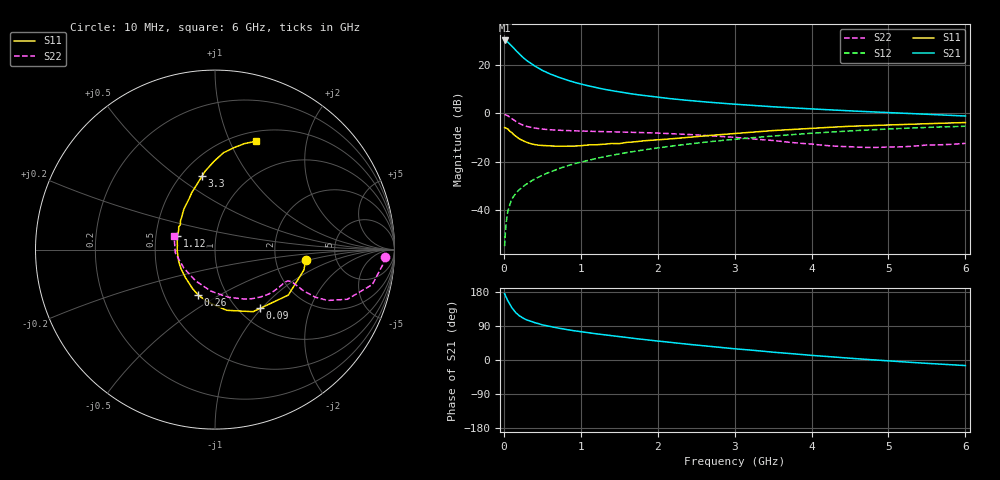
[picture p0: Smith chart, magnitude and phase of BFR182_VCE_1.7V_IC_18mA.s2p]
! Infineon Technologies  Discrete & RF Semiconductors
! BFR182
! VCE =  1.7 V,  IC =  18 mA
! Common Emitter S-Parameters:  Nov 2015
# GHz  S  MA  R  50
!  f  S11  S21  S12  S22
! GHz  MAG  ANG  MAG  ANG  MAG  ANG  MAG  ANG
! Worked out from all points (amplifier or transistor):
!   210 points, 10 MHz to 6 GHz, reference 50 ohm
!   highest |S21| = 30.1 dB at 10 MHz (marker M1)
!   |S21| within 3 dB of that: start of sweep to 123.5 MHz
!   unconditionally stable (mu >= 1): 472.5 MHz to 2.635 GHz
!   at 185 MHz: K = 0.71, MSG = 28.6 dB, |S12| = -32.0 dB
!   at 1.52 GHz: K = 1.07, MAG = 11.1 dB, |S12| = -16.6 dB
!   at 6 GHz: K = 0.91, MSG = 2.1 dB, |S12| = -5.3 dB
!   S11 on the Smith chart (normalised r, x): 10 MHz: 2.98, -0.48; 90 MHz: 1.24, -0.98; 260 MHz: 0.73, -0.40; 1.12 GHz: 0.64, +0.10; 3.3 GHz: 0.63, +0.62; 6 GHz: 0.61, +1.26
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0.01  0.5084 -6.8  32.15 175.0  0.0018 87.7  0.9508 -2.5
0.02  0.5081 -13.0  31.75 170.0  0.0034 83.1  0.9375 -5.3
0.05  0.4806 -31.8  29.96 156.7  0.009 78.9  0.8981 -12.5
0.09  0.413 -52.4  25.84 142.8  0.0148 72.2  0.808 -18.8
0.1  0.406 -58.4  25.09 138.7  0.0163 71.3  0.7872 -20.6
0.15  0.3446 -79.0  20.45 125.5  0.0217 69.0  0.6883 -24.3
0.2  0.3 -94.8  16.95 116.8  0.0264 68.8  0.6186 -25.4
0.26  0.268 -111.0  13.83 109.5  0.0314 68.7  0.563 -25.1
0.3  0.2513 -119.7  12.24 105.5  0.0351 70.3  0.5366 -24.8
0.4  0.2268 -136.7  9.557 98.6  0.0437 70.9  0.4976 -23.7
0.5  0.2171 -150.7  7.734 92.7  0.0525 71.8  0.4734 -23.0
0.7  0.2095 -170.8  5.672 84.4  0.0706 72.5  0.4489 -23.0
0.9  0.2103 175.2  4.455 77.6  0.0894 72.0  0.4369 -23.9
1.02  0.2163 166.7  3.968 74.3  0.1002 71.6  0.4309 -24.9
1.12  0.2241 160.7  3.644 71.5  0.1096 71.2  0.4265 -25.9
1.6  0.2513 140.0  2.619 59.2  0.1549 67.9  0.4098 -32.1
2.02  0.2859 126.9  2.137 49.6  0.1952 64.3  0.3903 -39.0
3.1  0.3942 102.8  1.509 28.0  0.301 53.0  0.3093 -62.1
3.3  0.417 99.8  1.436 24.5  0.3206 50.7  0.2903 -68.0
4.1  0.5016 89.4  1.214 10.8  0.3975 41.0  0.2233 -100.4
5.1  0.5848 78.4  1.025 -3.8  0.4837 28.1  0.2023 -154.9
6  0.6468 69.1  0.881 -14.7  0.5418 15.3  0.2404 161.4
